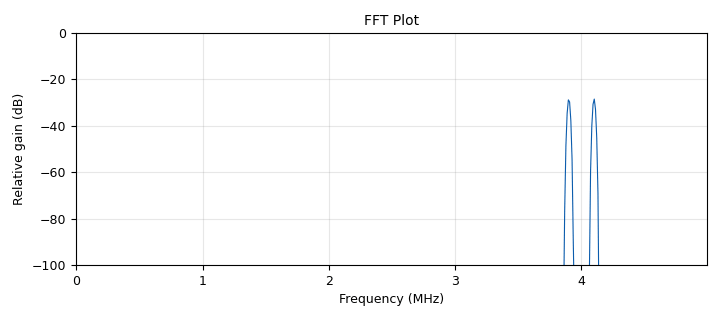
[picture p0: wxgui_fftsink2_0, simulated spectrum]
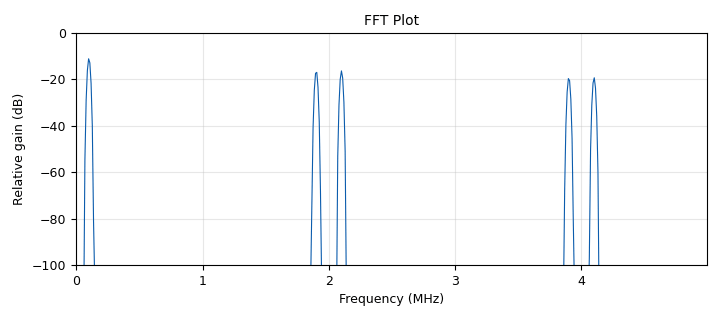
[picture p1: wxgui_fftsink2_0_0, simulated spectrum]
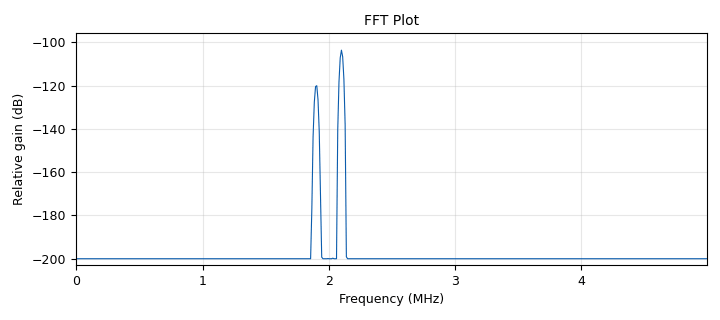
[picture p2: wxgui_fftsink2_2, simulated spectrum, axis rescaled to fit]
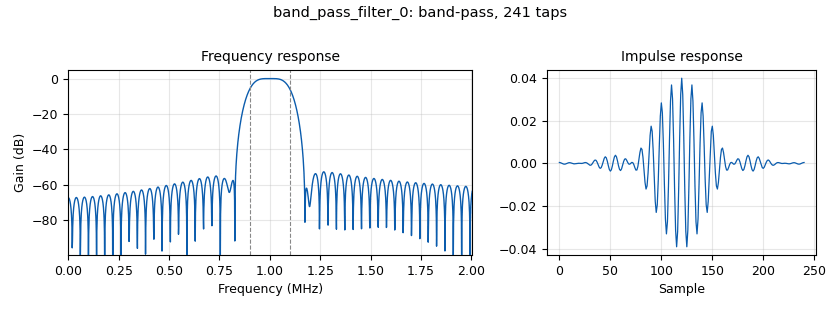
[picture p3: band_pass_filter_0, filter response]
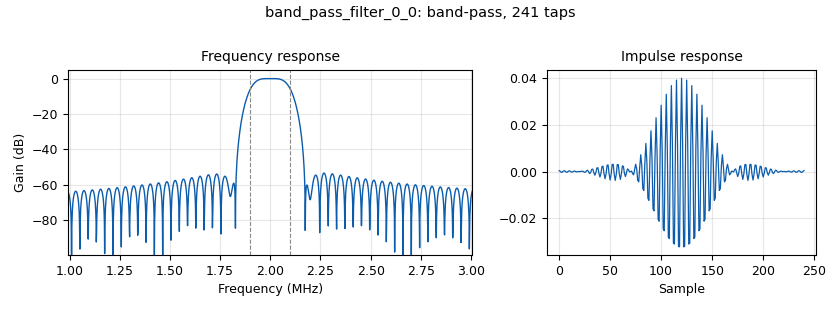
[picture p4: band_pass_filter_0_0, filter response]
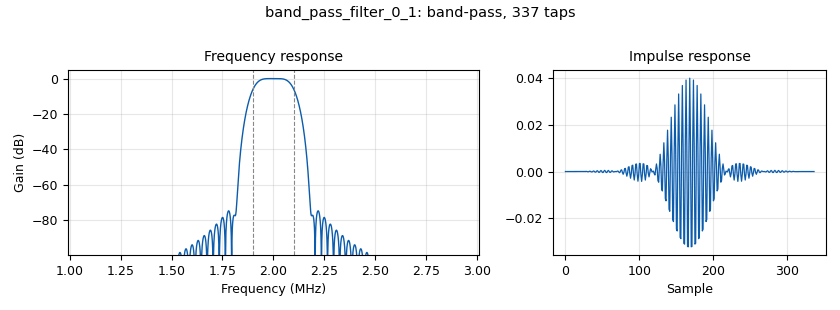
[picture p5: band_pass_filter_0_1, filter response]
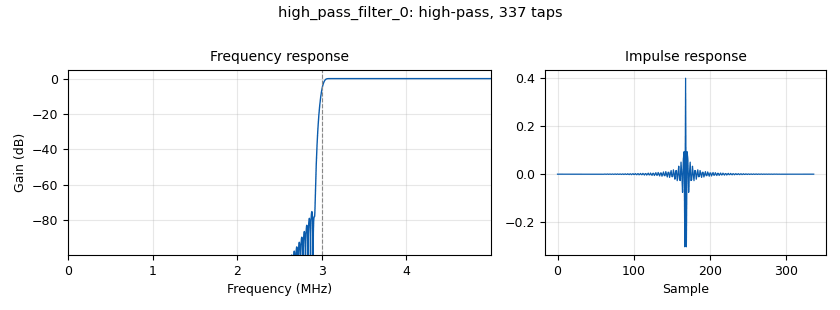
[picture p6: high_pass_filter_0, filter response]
<?xml version='1.0' encoding='utf-8'?>
<?grc format='1' created='3.7.10'?>
<flow_graph>
<block>
<key>options</key>
<param><key>id</key><value>top_block</value></param>
<param><key>category</key><value>Custom</value></param>
<param><key>generate_options</key><value>wx_gui</value></param>
<param><key>max_nouts</key><value>3</value></param>
</block>
<block>
<key>variable</key>
<param><key>id</key><value>samp_rate</value></param>
<param><key>value</key><value>10000000</value></param>
</block>
<block>
<key>analog_sig_source_x</key>
<param><key>id</key><value>analog_sig_source_x_0</value></param>
<param><key>amp</key><value>1</value></param>
<param><key>freq</key><value>2000000</value></param>
<param><key>offset</key><value>0</value></param>
<param><key>type</key><value>float</value></param>
<param><key>samp_rate</key><value>10000000</value></param>
<param><key>waveform</key><value>analog.GR_SQR_WAVE</value></param>
</block>
<block>
<key>analog_sig_source_x</key>
<param><key>id</key><value>analog_sig_source_x_0_0</value></param>
<param><key>amp</key><value>1</value></param>
<param><key>freq</key><value>100000</value></param>
<param><key>offset</key><value>0</value></param>
<param><key>type</key><value>float</value></param>
<param><key>samp_rate</key><value>samp_rate</value></param>
<param><key>waveform</key><value>analog.GR_COS_WAVE</value></param>
</block>
<block>
<key>analog_sig_source_x</key>
<param><key>id</key><value>analog_sig_source_x_0_1</value></param>
<param><key>amp</key><value>1</value></param>
<param><key>freq</key><value>2000000</value></param>
<param><key>offset</key><value>0</value></param>
<param><key>type</key><value>float</value></param>
<param><key>samp_rate</key><value>10000000</value></param>
<param><key>waveform</key><value>analog.GR_COS_WAVE</value></param>
</block>
<block>
<key>analog_sig_source_x</key>
<param><key>id</key><value>analog_sig_source_x_1</value></param>
<param><key>amp</key><value>1</value></param>
<param><key>freq</key><value>4000000</value></param>
<param><key>offset</key><value>0</value></param>
<param><key>type</key><value>float</value></param>
<param><key>samp_rate</key><value>10000000</value></param>
<param><key>waveform</key><value>analog.GR_SQR_WAVE</value></param>
</block>
<block>
<key>analog_sig_source_x</key>
<param><key>id</key><value>analog_sig_source_x_1_0</value></param>
<param><key>amp</key><value>1</value></param>
<param><key>freq</key><value>4000000</value></param>
<param><key>offset</key><value>0</value></param>
<param><key>type</key><value>float</value></param>
<param><key>samp_rate</key><value>10000000</value></param>
<param><key>waveform</key><value>analog.GR_COS_WAVE</value></param>
</block>
<block>
<key>band_pass_filter</key>
<param><key>id</key><value>band_pass_filter_0</value></param>
<param><key>decim</key><value>1</value></param>
<param><key>type</key><value>fir_filter_fff</value></param>
<param><key>gain</key><value>1</value></param>
<param><key>high_cutoff_freq</key><value>1100000</value></param>
<param><key>low_cutoff_freq</key><value>900000</value></param>
<param><key>samp_rate</key><value>10000000</value></param>
<param><key>width</key><value>100000</value></param>
<param><key>win</key><value>firdes.WIN_HAMMING</value></param>
</block>
<block>
<key>band_pass_filter</key>
<param><key>id</key><value>band_pass_filter_0_0</value></param>
<param><key>decim</key><value>1</value></param>
<param><key>type</key><value>fir_filter_fff</value></param>
<param><key>gain</key><value>1</value></param>
<param><key>high_cutoff_freq</key><value>2100000</value></param>
<param><key>low_cutoff_freq</key><value>1900000</value></param>
<param><key>samp_rate</key><value>10000000</value></param>
<param><key>width</key><value>100000</value></param>
<param><key>win</key><value>firdes.WIN_HAMMING</value></param>
</block>
<block>
<key>band_pass_filter</key>
<param><key>id</key><value>band_pass_filter_0_1</value></param>
<param><key>decim</key><value>1</value></param>
<param><key>type</key><value>fir_filter_fff</value></param>
<param><key>gain</key><value>1</value></param>
<param><key>high_cutoff_freq</key><value>2100000</value></param>
<param><key>low_cutoff_freq</key><value>1900000</value></param>
<param><key>samp_rate</key><value>10000000</value></param>
<param><key>width</key><value>100000</value></param>
<param><key>win</key><value>firdes.WIN_BLACKMAN</value></param>
</block>
<block>
<key>blocks_add_xx</key>
<param><key>id</key><value>blocks_add_xx_0</value></param>
<param><key>type</key><value>float</value></param>
</block>
<block>
<key>blocks_multiply_xx</key>
<param><key>id</key><value>blocks_multiply_xx_0</value></param>
<param><key>type</key><value>float</value></param>
</block>
<block>
<key>blocks_multiply_xx</key>
<param><key>id</key><value>blocks_multiply_xx_0_0</value></param>
<param><key>type</key><value>float</value></param>
</block>
<block>
<key>blocks_multiply_xx</key>
<param><key>id</key><value>blocks_multiply_xx_0_2</value></param>
<param><key>type</key><value>float</value></param>
</block>
<block>
<key>blocks_multiply_xx</key>
<param><key>id</key><value>blocks_multiply_xx_0_2_1</value></param>
<param><key>type</key><value>float</value></param>
</block>
<block>
<key>blocks_throttle</key>
<param><key>id</key><value>blocks_throttle_0</value></param>
<param><key>samples_per_second</key><value>samp_rate</value></param>
<param><key>type</key><value>float</value></param>
</block>
<block>
<key>blocks_throttle</key>
<param><key>id</key><value>blocks_throttle_0_0</value></param>
<param><key>samples_per_second</key><value>10000000</value></param>
<param><key>type</key><value>float</value></param>
</block>
<block>
<key>blocks_throttle</key>
<param><key>id</key><value>blocks_throttle_0_2</value></param>
<param><key>samples_per_second</key><value>10000000</value></param>
<param><key>type</key><value>float</value></param>
</block>
<block>
<key>blocks_throttle</key>
<param><key>id</key><value>blocks_throttle_0_4</value></param>
<param><key>samples_per_second</key><value>10000000</value></param>
<param><key>type</key><value>float</value></param>
</block>
<block>
<key>high_pass_filter</key>
<param><key>id</key><value>high_pass_filter_0</value></param>
<param><key>cutoff_freq</key><value>3000000</value></param>
<param><key>decim</key><value>1</value></param>
<param><key>type</key><value>fir_filter_fff</value></param>
<param><key>gain</key><value>1</value></param>
<param><key>samp_rate</key><value>samp_rate</value></param>
<param><key>width</key><value>100e3</value></param>
<param><key>win</key><value>firdes.WIN_BLACKMAN</value></param>
</block>
<block>
<key>notebook</key>
<param><key>id</key><value>notebook_0</value></param>
<param><key>labels</key><value>['tab0','tab1','tab2']</value></param>
<param><key>style</key><value>wx.NB_TOP</value></param>
</block>
<block>
<key>wxgui_fftsink2</key>
<param><key>id</key><value>wxgui_fftsink2_0</value></param>
<param><key>avg_alpha</key><value>0</value></param>
<param><key>average</key><value>False</value></param>
<param><key>baseband_freq</key><value>0</value></param>
<param><key>fft_size</key><value>1024</value></param>
<param><key>freqvar</key><value>None</value></param>
<param><key>notebook</key><value>notebook_0,2</value></param>
<param><key>peak_hold</key><value>False</value></param>
<param><key>ref_level</key><value>0</value></param>
<param><key>ref_scale</key><value>2.0</value></param>
<param><key>fft_rate</key><value>15</value></param>
<param><key>samp_rate</key><value>samp_rate</value></param>
<param><key>title</key><value>FFT Plot</value></param>
<param><key>type</key><value>float</value></param>
<param><key>win</key><value>window.blackmanharris</value></param>
<param><key>y_divs</key><value>10</value></param>
<param><key>y_per_div</key><value>10</value></param>
</block>
<block>
<key>wxgui_fftsink2</key>
<param><key>id</key><value>wxgui_fftsink2_0_0</value></param>
<param><key>avg_alpha</key><value>0</value></param>
<param><key>average</key><value>False</value></param>
<param><key>baseband_freq</key><value>0</value></param>
<param><key>fft_size</key><value>1024</value></param>
<param><key>freqvar</key><value>None</value></param>
<param><key>notebook</key><value>notebook_0,0</value></param>
<param><key>peak_hold</key><value>False</value></param>
<param><key>ref_level</key><value>0</value></param>
<param><key>ref_scale</key><value>2.0</value></param>
<param><key>fft_rate</key><value>15</value></param>
<param><key>samp_rate</key><value>samp_rate</value></param>
<param><key>title</key><value>FFT Plot</value></param>
<param><key>type</key><value>float</value></param>
<param><key>win</key><value>window.blackmanharris</value></param>
<param><key>y_divs</key><value>10</value></param>
<param><key>y_per_div</key><value>10</value></param>
</block>
<block>
<key>wxgui_fftsink2</key>
<param><key>id</key><value>wxgui_fftsink2_2</value></param>
<param><key>avg_alpha</key><value>0</value></param>
<param><key>average</key><value>False</value></param>
<param><key>baseband_freq</key><value>0</value></param>
<param><key>fft_size</key><value>1024</value></param>
<param><key>freqvar</key><value>None</value></param>
<param><key>notebook</key><value>notebook_0,1</value></param>
<param><key>peak_hold</key><value>False</value></param>
<param><key>ref_level</key><value>0</value></param>
<param><key>ref_scale</key><value>2.0</value></param>
<param><key>fft_rate</key><value>15</value></param>
<param><key>samp_rate</key><value>samp_rate</value></param>
<param><key>title</key><value>FFT Plot</value></param>
<param><key>type</key><value>float</value></param>
<param><key>win</key><value>window.blackmanharris</value></param>
<param><key>y_divs</key><value>10</value></param>
<param><key>y_per_div</key><value>10</value></param>
</block>
<connection><source_block_id>analog_sig_source_x_0</source_block_id><sink_block_id>blocks_multiply_xx_0</sink_block_id><source_key>0</source_key><sink_key>0</sink_key></connection>
<connection><source_block_id>analog_sig_source_x_0_0</source_block_id><sink_block_id>blocks_multiply_xx_0</sink_block_id><source_key>0</source_key><sink_key>1</sink_key></connection>
<connection><source_block_id>analog_sig_source_x_0_0</source_block_id><sink_block_id>blocks_multiply_xx_0_0</sink_block_id><source_key>0</source_key><sink_key>0</sink_key></connection>
<connection><source_block_id>analog_sig_source_x_0_1</source_block_id><sink_block_id>blocks_multiply_xx_0_2</sink_block_id><source_key>0</source_key><sink_key>1</sink_key></connection>
<connection><source_block_id>analog_sig_source_x_1</source_block_id><sink_block_id>blocks_multiply_xx_0_0</sink_block_id><source_key>0</source_key><sink_key>1</sink_key></connection>
<connection><source_block_id>analog_sig_source_x_1_0</source_block_id><sink_block_id>blocks_multiply_xx_0_2_1</sink_block_id><source_key>0</source_key><sink_key>1</sink_key></connection>
<connection><source_block_id>band_pass_filter_0</source_block_id><sink_block_id>blocks_throttle_0_2</sink_block_id><source_key>0</source_key><sink_key>0</sink_key></connection>
<connection><source_block_id>band_pass_filter_0_0</source_block_id><sink_block_id>blocks_throttle_0_4</sink_block_id><source_key>0</source_key><sink_key>0</sink_key></connection>
<connection><source_block_id>band_pass_filter_0_1</source_block_id><sink_block_id>wxgui_fftsink2_2</sink_block_id><source_key>0</source_key><sink_key>0</sink_key></connection>
<connection><source_block_id>blocks_add_xx_0</source_block_id><sink_block_id>band_pass_filter_0</sink_block_id><source_key>0</source_key><sink_key>0</sink_key></connection>
<connection><source_block_id>blocks_add_xx_0</source_block_id><sink_block_id>band_pass_filter_0_0</sink_block_id><source_key>0</source_key><sink_key>0</sink_key></connection>
<connection><source_block_id>blocks_add_xx_0</source_block_id><sink_block_id>wxgui_fftsink2_0_0</sink_block_id><source_key>0</source_key><sink_key>0</sink_key></connection>
<connection><source_block_id>blocks_multiply_xx_0</source_block_id><sink_block_id>blocks_throttle_0</sink_block_id><source_key>0</source_key><sink_key>0</sink_key></connection>
<connection><source_block_id>blocks_multiply_xx_0_0</source_block_id><sink_block_id>blocks_throttle_0_0</sink_block_id><source_key>0</source_key><sink_key>0</sink_key></connection>
<connection><source_block_id>blocks_multiply_xx_0_2</source_block_id><sink_block_id>band_pass_filter_0_1</sink_block_id><source_key>0</source_key><sink_key>0</sink_key></connection>
<connection><source_block_id>blocks_multiply_xx_0_2_1</source_block_id><sink_block_id>high_pass_filter_0</sink_block_id><source_key>0</source_key><sink_key>0</sink_key></connection>
<connection><source_block_id>blocks_throttle_0</source_block_id><sink_block_id>blocks_add_xx_0</sink_block_id><source_key>0</source_key><sink_key>0</sink_key></connection>
<connection><source_block_id>blocks_throttle_0_0</source_block_id><sink_block_id>blocks_add_xx_0</sink_block_id><source_key>0</source_key><sink_key>1</sink_key></connection>
<connection><source_block_id>blocks_throttle_0_2</source_block_id><sink_block_id>blocks_multiply_xx_0_2</sink_block_id><source_key>0</source_key><sink_key>0</sink_key></connection>
<connection><source_block_id>blocks_throttle_0_4</source_block_id><sink_block_id>blocks_multiply_xx_0_2_1</sink_block_id><source_key>0</source_key><sink_key>0</sink_key></connection>
<connection><source_block_id>high_pass_filter_0</source_block_id><sink_block_id>wxgui_fftsink2_0</sink_block_id><source_key>0</source_key><sink_key>0</sink_key></connection>
</flow_graph>
